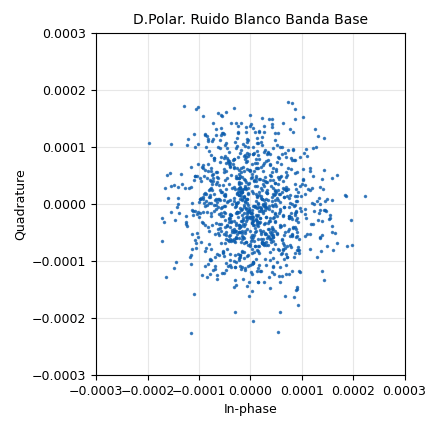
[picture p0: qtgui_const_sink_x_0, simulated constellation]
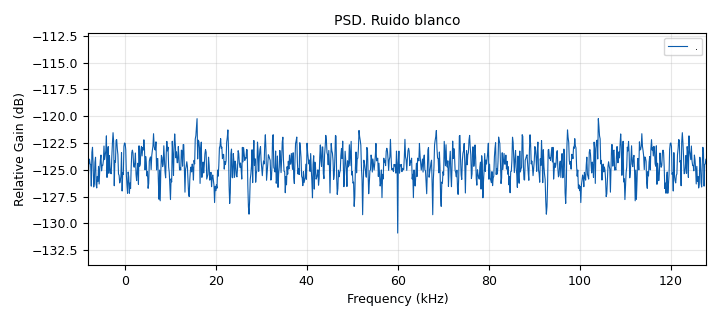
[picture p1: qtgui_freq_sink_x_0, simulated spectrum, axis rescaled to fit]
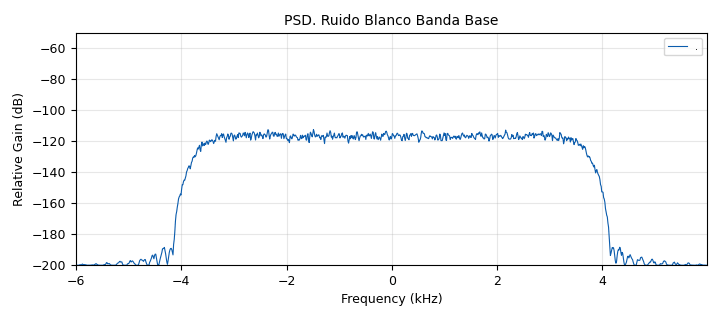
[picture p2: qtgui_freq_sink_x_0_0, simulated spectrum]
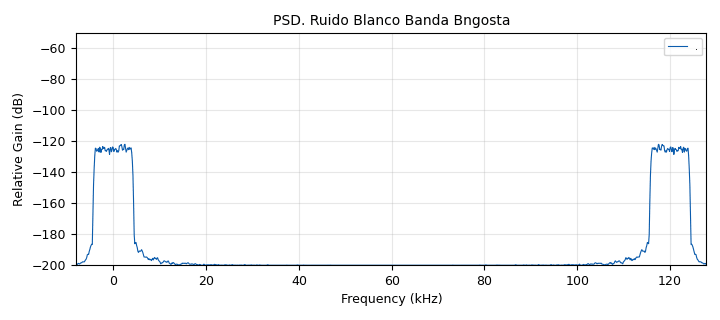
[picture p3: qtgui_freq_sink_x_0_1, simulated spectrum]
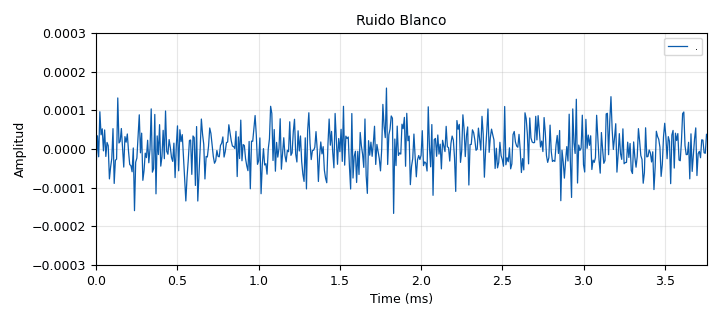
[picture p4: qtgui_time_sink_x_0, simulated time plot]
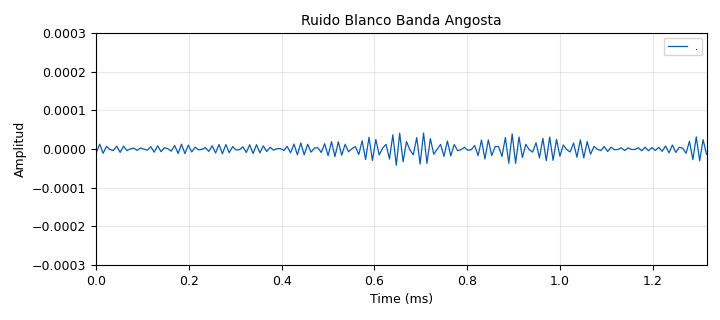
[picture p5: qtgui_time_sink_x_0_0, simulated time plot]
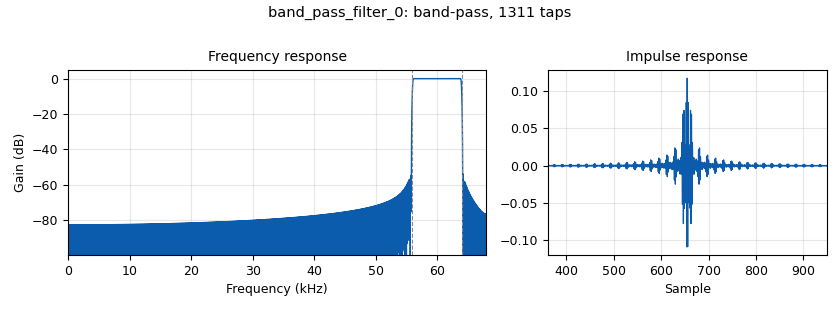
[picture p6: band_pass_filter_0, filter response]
options:
  parameters:
    category: Custom
    generate_options: qt_gui
    id: top_block
    output_language: python
  states: {}

blocks:
- name: B
  id: variable
  parameters:
    value: '8000'
  states: {}
- name: BW
  id: variable
  parameters:
    value: B/2
  states: {}
- name: Fc
  id: variable
  parameters:
    value: '60000'
  states: {}
- name: Fmax
  id: variable
  parameters:
    value: Fc+B
  states: {}
- name: Fs
  id: variable
  parameters:
    value: 2*BW
  states: {}
- name: Fs2
  id: variable
  parameters:
    value: int(Fs*1.5)
  states: {}
- name: Fs_ruido_blanco
  id: variable
  parameters:
    value: 2*Fmax
  states: {}
- name: N
  id: variable
  parameters:
    value: '1024'
  states: {}
- name: 'No'
  id: variable
  parameters:
    value: math.pow(10,No_dB/10.)
  states: {}
- name: No_dB
  id: variable
  parameters:
    value: '-40'
  states: {}
- name: analog_noise_source_x_0
  id: analog_noise_source_x
  parameters:
    amp: 'No'
    noise_type: analog.GR_GAUSSIAN
    seed: '0'
    type: complex
  states: {}
- name: analog_noise_source_x_0_0
  id: analog_noise_source_x
  parameters:
    amp: No/2.
    noise_type: analog.GR_GAUSSIAN
    seed: '0'
    type: float
  states: {}
- name: band_pass_filter_0
  id: band_pass_filter
  parameters:
    decim: '1'
    gain: '1'
    high_cutoff_freq: Fc+BW
    low_cutoff_freq: Fc-BW
    samp_rate: Fs_ruido_blanco
    type: fir_filter_fff
    width: BW/16
    win: window.WIN_HAMMING
  states: {}
- name: import_0
  id: import
  parameters:
    imports: import math
  states: {}
- name: qtgui_const_sink_x_0
  id: qtgui_const_sink_x
  parameters:
    gui_hint: 2,1,1,1
    label1: '.'
    legend: 'False'
    name: '"D.Polar. Ruido Blanco Banda Base"'
    size: '1024'
    type: complex
    xmax: '0.0003'
    xmin: '-0.0003'
    ymax: '0.0003'
    ymin: '-0.0003'
  states: {}
- name: qtgui_freq_sink_x_0
  id: qtgui_freq_sink_x
  parameters:
    average: '0.05'
    bw: Fs_ruido_blanco
    fc: Fc
    fftsize: N
    gui_hint: 0,0,1,1
    label1: '.'
    name: '"PSD. Ruido blanco"'
    showports: 'True'
    type: float
    width1: '2'
    ymax: '-50'
    ymin: '-200'
  states: {}
- name: qtgui_freq_sink_x_0_0
  id: qtgui_freq_sink_x
  parameters:
    average: '0.05'
    bw: Fs2
    fc: '0'
    fftsize: N
    gui_hint: 2,0,1,1
    label1: '.'
    name: '"PSD. Ruido Blanco Banda Base"'
    showports: 'True'
    type: complex
    width1: '2'
    ymax: '-50'
    ymin: '-200'
  states: {}
- name: qtgui_freq_sink_x_0_1
  id: qtgui_freq_sink_x
  parameters:
    average: '0.05'
    bw: Fs_ruido_blanco
    fc: Fc
    fftsize: N
    gui_hint: 1,0,1,1
    label1: '.'
    name: '"PSD. Ruido Blanco Banda Bngosta"'
    showports: 'True'
    type: float
    width1: '2'
    ymax: '-50'
    ymin: '-200'
  states: {}
- name: qtgui_time_sink_x_0
  id: qtgui_time_sink_x
  parameters:
    gui_hint: 0,1,1,1
    label1: '.'
    name: '"Ruido Blanco"'
    size: '512'
    srate: Fs_ruido_blanco
    type: float
    width1: '2'
    ylabel: Amplitud
    ymax: '0.0003'
    ymin: '-0.0003'
  states: {}
- name: qtgui_time_sink_x_0_0
  id: qtgui_time_sink_x
  parameters:
    gui_hint: 1,1,1,1
    label1: '.'
    name: '"Ruido Blanco Banda Angosta"'
    size: '180'
    srate: Fs_ruido_blanco
    type: float
    width1: '2'
    ylabel: Amplitud
    ymax: '0.0003'
    ymin: '-0.0003'
  states: {}
- name: rational_resampler_xxx_0
  id: rational_resampler_xxx
  parameters:
    decim: int(Fs)
    interp: Fs2
    taps: ''
    type: ccc
  states: {}

connections:
- [analog_noise_source_x_0, '0', rational_resampler_xxx_0, '0']
- [analog_noise_source_x_0_0, '0', band_pass_filter_0, '0']
- [analog_noise_source_x_0_0, '0', qtgui_freq_sink_x_0, '0']
- [analog_noise_source_x_0_0, '0', qtgui_time_sink_x_0, '0']
- [band_pass_filter_0, '0', qtgui_freq_sink_x_0_1, '0']
- [band_pass_filter_0, '0', qtgui_time_sink_x_0_0, '0']
- [rational_resampler_xxx_0, '0', qtgui_const_sink_x_0, '0']
- [rational_resampler_xxx_0, '0', qtgui_freq_sink_x_0_0, '0']

metadata:
  file_format: 1
